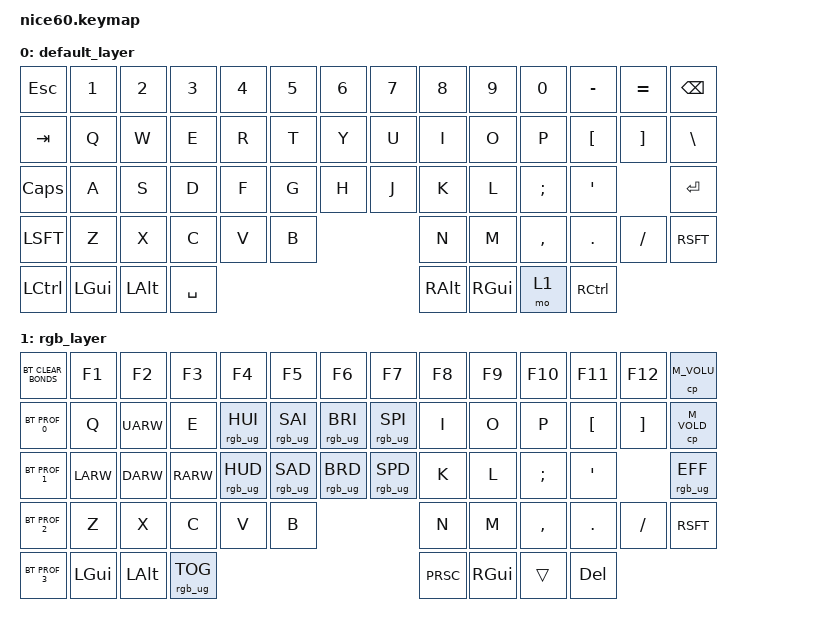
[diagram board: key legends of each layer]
#include <behaviors.dtsi>
#include <dt-bindings/zmk/keys.h>
#include <dt-bindings/zmk/rgb.h>
#include <dt-bindings/zmk/bt.h>

/ {
	keymap {
		compatible = "zmk,keymap";
		
		default_layer {
// ------------------------------------------------------------------------------------------
// | ESC |  1  |  2  |  3  |  4  |  5  |  6  |  7  |  8  |  9  |  0  |  -  |  =  |   BKSP   |
// | TAB  |  Q  |  W  |  E  |  R  |  T  |  Y  |  U  |  I  |  O  |  P  |  [  |  ]  |   "|"   |
// | CAPS  |  A  |  S  |  D  |  F  |  G  |  H  |  J  |  K  |  L  |  ;  |  '  |     ENTER    |
// |  SHIFT  |  Z  |  X  |  C  |  V  |  B  |  N  |  M  |  ,  |  .  |  /  |      SHIFT       |
// |  CTL  |  WIN  |  ALT  |            SPACE              |  ALT  |  WIN  |  MO(1) |  CTL  |
// ------------------------------------------------------------------------------------------
			bindings = <
	&kp ESC  &kp NUM_1 &kp NUM_2 &kp NUM_3 &kp NUM_4 &kp NUM_5 &kp NUM_6 &kp NUM_7 &kp NUM_8 &kp NUM_9 &kp NUM_0 &kp MINUS &kp EQL  &kp BKSP
	&kp TAB  &kp Q     &kp W     &kp E     &kp R     &kp T     &kp Y     &kp U     &kp   I   &kp   O   &kp   P   &kp LBKT &kp RBKT &kp BSLH
	&kp CLCK &kp A     &kp S     &kp D     &kp F     &kp G     &kp H     &kp J     &kp   K   &kp   L   &kp  SCLN  &kp  QUOT        &kp RET
	&kp LSFT &kp Z     &kp X     &kp C     &kp V     &kp B     &kp N     &kp M     &kp   CMMA   &kp   DOT   &kp   FSLH           &kp RSFT
	&kp LCTL &kp LGUI  &kp LALT                     &kp SPC                        &kp   RALT   &kp   RGUI  &mo 1 &kp   RCTL
			>;
		};

		rgb_layer {
// ------------------------------------------------------------------------------------------
// | ESC |  1  |  2  |  3  |  4  |  5  |  6  |  7  |  8  |  9  |  0  |  -  |  =  |   BKSP   |
// | TAB  |  Q  |  W  |  E  |  R  |  T  |  Y  |  U  |  I  |  O  |  P  |  [  |  ]  |   "|"   |
// | CAPS  |  A  |  S  |  D  |  F  |  G  |  H  |  J  |  K  |  L  |  ;  |  '  |     ENTER    |
// |  SHIFT  |  Z  |  X  |  C  |  V  |  B  |  N  |  M  |  ,  |  .  |  /  |      SHIFT       |
// |  CTL  |  WIN  |  ALT  |            SPACE              |  ALT  |  WIN  |  MENU  |  CTL  |
// ------------------------------------------------------------------------------------------
			bindings = <
	&bt BT_CLEAR_BONDS &kp F1 &kp F2 &kp F3 &kp F4 &kp F5 &kp F6 &kp F7 &kp F8 &kp F9 &kp F10 &kp F11 &kp F12  &cp M_VOLU
	&bt BT_PROF_SEL 0  &kp   Q   &kp UARW  &kp   E   &rgb_ug RGB_HUI &rgb_ug RGB_SAI &rgb_ug RGB_BRI &rgb_ug RGB_SPI &kp   I   &kp   O   &kp   P   &kp LBKT &kp RBKT &cp M_VOLD 
	&bt BT_PROF_SEL 1  &kp LARW  &kp DARW  &kp RARW &rgb_ug RGB_HUD &rgb_ug RGB_SAD &rgb_ug RGB_BRD &rgb_ug RGB_SPD &kp   K   &kp   L   &kp  SCLN  &kp QUOT &rgb_ug RGB_EFF
	&bt BT_PROF_SEL 2   &kp   Z   &kp   X   &kp   C   &kp   V   &kp   B   &kp   N   &kp   M   &kp   CMMA   &kp   DOT   &kp   FSLH           &kp RSFT
	&bt BT_PROF_SEL 3 &kp   LGUI   &kp   LALT                  &rgb_ug RGB_TOG                    &kp   PRSC    &kp   RGUI     &trans     &kp   DEL
			>;
		};
	};
};


